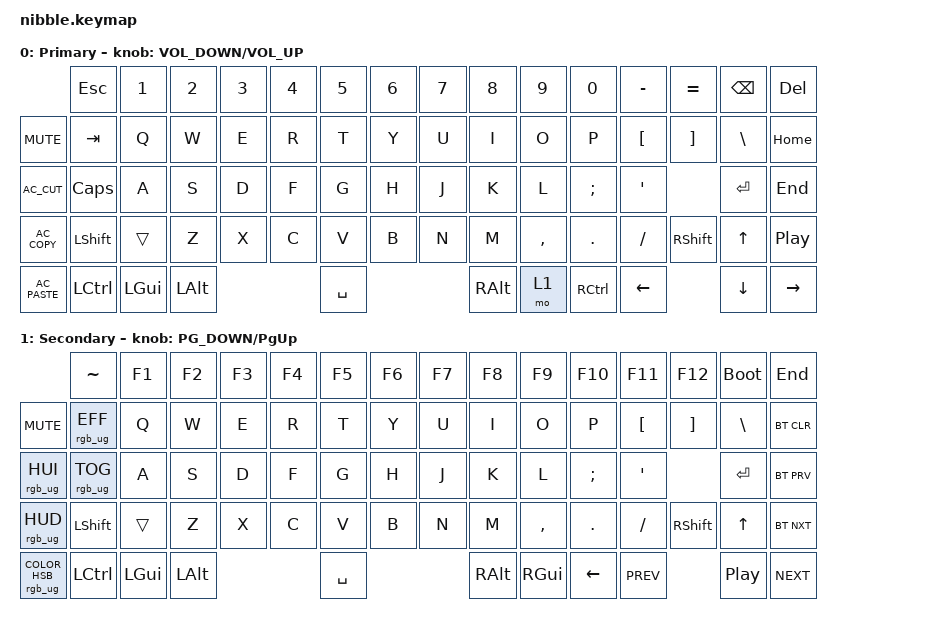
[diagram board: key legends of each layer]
/*
 * Copyright (c) 2020 The ZMK Contributors
 *
 * SPDX-License-Identifier: MIT
 */

#include <behaviors.dtsi>
#include <dt-bindings/zmk/keys.h>
#include <dt-bindings/zmk/bt.h>
#include <dt-bindings/zmk/rgb.h>
#include <../boards/shields/nibble/boards/nice_nano.overlay>

/ {
	sensors {
		compatible = "zmk,keymap-sensors";
		sensors = <&encoder_1>;
	};

	keymap {
		compatible = "zmk,keymap";

		default_layer {
			label = "Primary";

			sensor-bindings = <&inc_dec_kp C_VOLUME_DOWN C_VOLUME_UP>;

			bindings = <
               &kp ESC   &kp N1    &kp N2    &kp N3    &kp N4    &kp N5    &kp N6    &kp N7    &kp N8  &kp N9    &kp N0    &kp MINUS &kp EQUAL &kp BSPC &kp DEL
&kp C_MUTE     &kp TAB   &kp Q     &kp W     &kp E     &kp R     &kp T     &kp Y     &kp U     &kp I   &kp O     &kp P     &kp LBKT  &kp RBKT  &kp BSLH &kp HOME
&kp C_AC_CUT   &kp CLCK  &kp A     &kp S     &kp D     &kp F     &kp G     &kp H     &kp J     &kp K   &kp L     &kp SEMI  &kp SQT             &kp RET  &kp END
&kp C_AC_COPY  &kp LSHFT &trans    &kp Z     &kp X     &kp C     &kp V     &kp B     &kp N     &kp M   &kp COMMA &kp DOT   &kp FSLH  &kp RSHFT &kp UP   &kp C_PP
&kp C_AC_PASTE &kp LCTRL &kp LGUI  &kp LALT                      &kp SPACE                     &kp RALT  &mo 1   &kp RCTRL &kp LEFT            &kp DOWN &kp RIGHT
			>;
		};
		function_layer {
			label = "Secondary";
			
			sensor-bindings = <&kp PG_DOWN PG_UP>;

		 	bindings = <
                  &kp TILDE        &kp F1      &kp F2     &kp F3    &kp F4   &kp F5    &kp F6    &kp F7   &kp F8  &kp F9     &kp F10   &kp F11   &kp F12     &bootloader  &kp END
&kp C_MUTE        &rgb_ug RGB_EFF  &kp Q       &kp W      &kp E     &kp R    &kp T     &kp Y     &kp U    &kp I   &kp O      &kp P     &kp LBKT  &kp RBKT    &kp BSLH     &bt BT_CLR 
&rgb_ug RGB_HUI   &rgb_ug RGB_TOG  &kp A       &kp S      &kp D     &kp F    &kp G     &kp H     &kp J    &kp K   &kp L      &kp SEMI  &kp SQT               &kp RET      &bt BT_PRV 
&rgb_ug RGB_HUD   &kp LSHFT        &trans      &kp Z      &kp X     &kp C    &kp V     &kp B     &kp N    &kp M   &kp COMMA  &kp DOT   &kp FSLH  &kp RSHFT   &kp UP       &bt BT_NXT
&rgb_ug RGB_COLOR_HSB(195, 100, 100)  &kp LCTRL  &kp LGUI   &kp LALT                  &kp SPACE                   &kp RALT   &kp RGUI  &kp LEFT  &kp C_PREV  &kp C_PP     &kp C_NEXT
			>;
		};
	};
};
